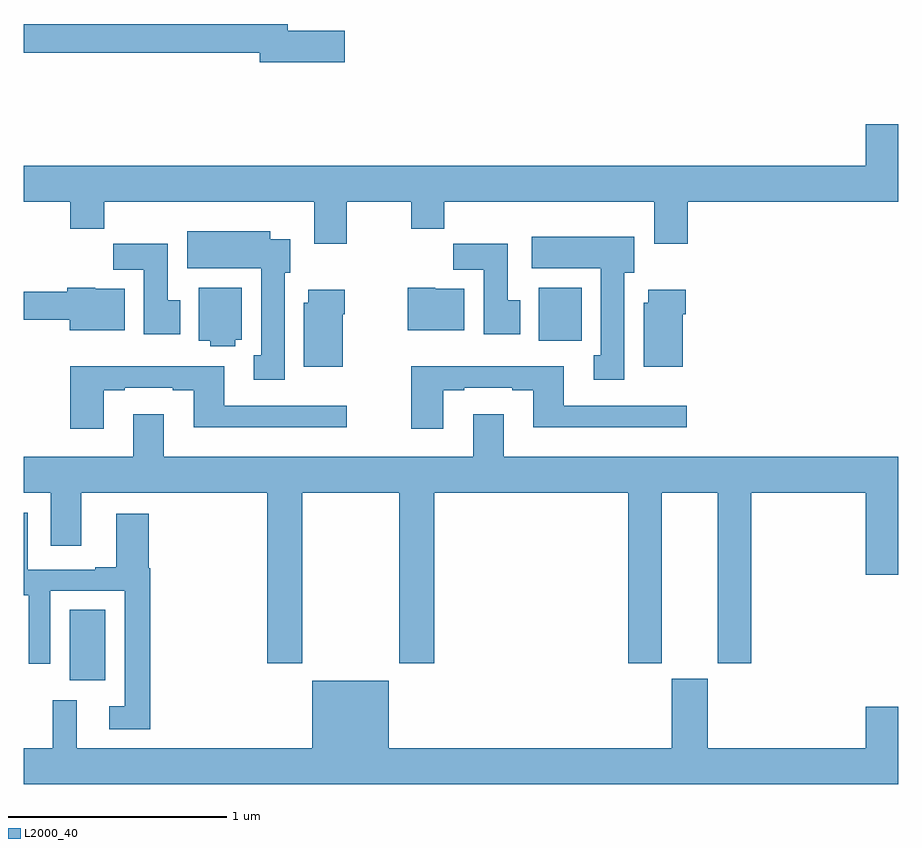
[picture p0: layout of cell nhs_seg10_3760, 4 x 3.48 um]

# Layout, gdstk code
import gdstk
lib = gdstk.Library(unit=1e-6, precision=1e-09)
def R(c, l, rs):  # rectangles x0, y0, x1, y1
    for r in rs: c.add(gdstk.rectangle(r[:2], r[2:], *l))
def P(c, l, *ps):  # polygons
    for p in ps: c.add(gdstk.Polygon(p, *l))
L2000_40 = (2000, 40)

nhs_seg10_3760 = lib.new_cell('nhs_seg10_3760')
R(nhs_seg10_3760, L2000_40, [(317.21,1259.499,317.374,1259.822), (319.355,1261.052,319.552,1261.294)])
P(nhs_seg10_3760, L2000_40, [(318.469,1262.468),(318.208,1262.468),(318.208,1262.5),(317,1262.5),(317,1262.368),(318.08,1262.368),(318.08,1262.326),(318.469,1262.326)],
  [(318.477,1261.688),(318.772,1261.688),(318.772,1261.564),(318.923,1261.564),(318.923,1261.688),(319.883,1261.688),(319.883,1261.494),(320.036,1261.494),(320.036,1261.688),(321,1261.688),(321,1262.041),(320.852,1262.041),(320.852,1261.852),(317,1261.852),(317,1261.688),(317.213,1261.688),(317.213,1261.564),(317.369,1261.564),(317.369,1261.688),(318.329,1261.688),(318.329,1261.494),(318.477,1261.494)],
  [(318.193,1261.362),(318.22,1261.362),(318.22,1261.516),(318.127,1261.516),(318.127,1261.552),(317.747,1261.552),(317.747,1261.382),(318.086,1261.382),(318.086,1260.986),(318.053,1260.986),(318.053,1260.873),(318.193,1260.873)],
  [(319.747,1261.362),(319.792,1261.362),(319.792,1261.528),(319.323,1261.528),(319.323,1261.382),(319.64,1261.382),(319.64,1260.986),(319.607,1260.986),(319.607,1260.873),(319.747,1260.873)],
  [(319.27,1261.236),(319.213,1261.236),(319.213,1261.495),(318.964,1261.495),(318.964,1261.376),(319.103,1261.376),(319.103,1261.08),(319.27,1261.08)],
  [(317.716,1261.236),(317.659,1261.236),(317.659,1261.494),(317.41,1261.494),(317.41,1261.376),(317.549,1261.376),(317.549,1261.08),(317.716,1261.08)],
  [(317.967,1261.056),(317.998,1261.056),(317.998,1261.294),(317.801,1261.294),(317.801,1261.052),(317.853,1261.052),(317.853,1261.025),(317.967,1261.025)],
  [(319.015,1261.288),(318.882,1261.288),(318.882,1261.294),(318.757,1261.294),(318.757,1261.1),(319.015,1261.1)],
  [(317.461,1261.288),(317.328,1261.288),(317.328,1261.294),(317.198,1261.294),(317.198,1261.276),(317,1261.276),(317,1261.147),(317.21,1261.147),(317.21,1261.1),(317.461,1261.1)],
  [(320.014,1261.172),(320.027,1261.172),(320.027,1261.285),(319.856,1261.285),(319.856,1261.224),(319.835,1261.224),(319.835,1260.932),(320.014,1260.932)],
  [(318.46,1261.172),(318.468,1261.172),(318.468,1261.285),(318.302,1261.285),(318.302,1261.224),(318.281,1261.224),(318.281,1260.932),(318.46,1260.932)],
  [(317.365,1260.825),(317.461,1260.825),(317.461,1260.837),(317.681,1260.837),(317.681,1260.825),(317.777,1260.825),(317.777,1260.656),(318.478,1260.656),(318.478,1260.753),(317.917,1260.753),(317.917,1260.934),(317.213,1260.934),(317.213,1260.648),(317.365,1260.648)],
  [(318.919,1260.825),(319.015,1260.825),(319.015,1260.837),(319.235,1260.837),(319.235,1260.825),(319.331,1260.825),(319.331,1260.656),(320.032,1260.656),(320.032,1260.753),(319.471,1260.753),(319.471,1260.934),(318.772,1260.934),(318.772,1260.648),(318.919,1260.648)],
  [(318.273,1260.356),(318.718,1260.356),(318.718,1259.577),(318.878,1259.577),(318.878,1260.356),(319.766,1260.356),(319.766,1259.577),(319.918,1259.577),(319.918,1260.356),(320.174,1260.356),(320.174,1259.577),(320.327,1259.577),(320.327,1260.356),(320.852,1260.356),(320.852,1259.982),(321,1259.982),(321,1260.52),(319.195,1260.52),(319.195,1260.715),(319.055,1260.715),(319.055,1260.52),(317.641,1260.52),(317.641,1260.715),(317.501,1260.715),(317.501,1260.52),(317,1260.52),(317,1260.356),(317.123,1260.356),(317.123,1260.114),(317.263,1260.114),(317.263,1260.356),(318.113,1260.356),(318.113,1259.577),(318.273,1259.577)],
  [(317.579,1260.01),(317.573,1260.01),(317.573,1260.259),(317.423,1260.259),(317.423,1260.016),(317.327,1260.016),(317.327,1260.003),(317.019,1260.003),(317.019,1260.264),(317,1260.264),(317,1259.887),(317.023,1259.887),(317.023,1259.574),(317.121,1259.574),(317.121,1259.907),(317.463,1259.907),(317.463,1259.379),(317.391,1259.379),(317.391,1259.274),(317.579,1259.274)],
  [(321,1259.377),(320.852,1259.377),(320.852,1259.188),(320.128,1259.188),(320.128,1259.505),(319.964,1259.505),(319.964,1259.188),(318.67,1259.188),(318.67,1259.497),(318.32,1259.497),(318.32,1259.188),(317.242,1259.188),(317.242,1259.407),(317.133,1259.407),(317.133,1259.188),(317,1259.188),(317,1259.024),(321,1259.024)])

lib.write_gds('nhs_seg10_3760.gds')
